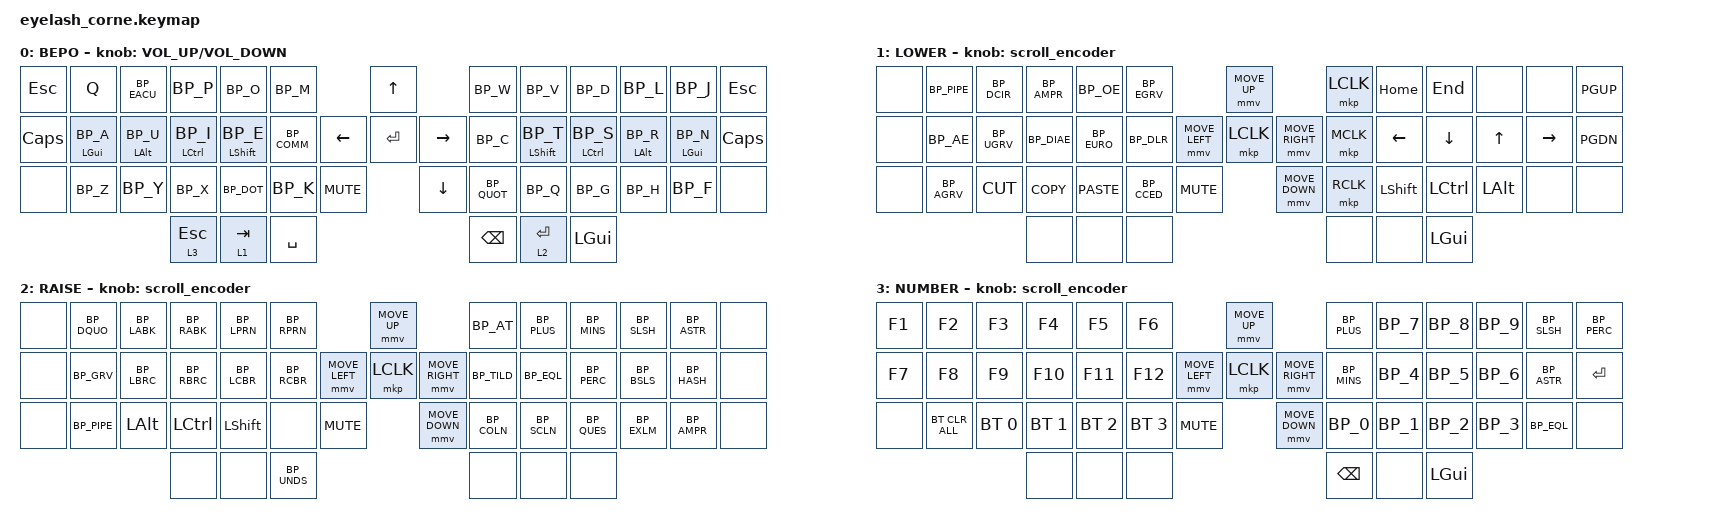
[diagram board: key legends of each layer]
#define ZMK_POINTING_DEFAULT_MOVE_VAL 1200
#define ZMK_POINTING_DEFAULT_SCRL_VAL 25

#define BEPO 0
#define LOWER 1
#define RAISE 2
#define NUMBER 3

#define BP_B Q 

#include <input/processors.dtsi>
#include <zephyr/dt-bindings/input/input-event-codes.h>
#include <behaviors.dtsi>
#include <dt-bindings/zmk/bt.h>
#include <dt-bindings/zmk/keys.h>
#include <dt-bindings/zmk/outputs.h>
#include <dt-bindings/zmk/pointing.h>
#include <dt-bindings/zmk/rgb.h>
#include "keymap_bepo.h"

&mmv_input_listener { input-processors = <&zip_xy_scaler 2 1>; };
&msc_input_listener { input-processors = <&zip_scroll_scaler 2 1>; };

&msc {
    acceleration-exponent = <1>;
    time-to-max-speed-ms = <100>;
    delay-ms = <0>;
};

&mmv {
    time-to-max-speed-ms = <500>;
    acceleration-exponent = <1>;
    trigger-period-ms = <16>;
};

 / {
    behaviors {
        td0: td0 {
            compatible = "zmk,behavior-tap-dance";
            display-name = "Shift/Caps Lock Tap Dance";
            #binding-cells = <0>;
            bindings = <&kp LEFT_SHIFT>, <&kp CAPS>;
        };
    };

    rgb_encoder: rgb_encoder {
        compatible = "zmk,behavior-sensor-rotate";
        #sensor-binding-cells = <0>;
        bindings = <&rgb_ug RGB_BRI>, <&rgb_ug RGB_BRD>;
    };

    scroll_encoder: scroll_encoder {
        compatible = "zmk,behavior-sensor-rotate";
        #sensor-binding-cells = <0>;
        bindings = <&msc SCRL_DOWN>, <&msc SCRL_UP>;
        tap-ms = <100>;
    };

    keymap {
        compatible = "zmk,keymap";
        bepo_layer {
            display-name = "BEPO";
            bindings = <
                // Ligne du haut gauche                                                                                                                     // Ligne du haut droite
                &kp ESC         &kp BP_B        &kp BP_EACU     &kp BP_P         &kp BP_O          &kp BP_M                           &kp UP                &kp BP_W      &kp BP_V          &kp BP_D         &kp BP_L        &kp BP_J       &kp ESC
                // Ligne du milieu gauche                                                                                                                   // Ligne du milieu droite
                &kp CAPSLOCK    &mt LGUI BP_A   &mt LALT BP_U   &mt LCTRL BP_I   &mt LSHIFT BP_E   &kp BP_COMM              &kp LEFT  &kp ENTER  &kp RIGHT  &kp BP_C      &mt LSHIFT BP_T   &mt LCTRL BP_S   &mt LALT BP_R   &mt LGUI BP_N  &kp CAPSLOCK
                // Ligne du bas gauche                                                                                                                      // Ligne du bas droite
                &none           &kp BP_Z        &kp BP_Y        &kp BP_X         &kp BP_DOT        &kp BP_K    &kp C_MUTE             &kp DOWN              &kp BP_QUOT   &kp BP_Q          &kp BP_G         &kp BP_H        &kp BP_F       &none
                // Thumbs (gauche puis droite, 3 par main)
                                                                &lt 3 ESC        &lt 1 TAB         &kp SPACE                                                &kp BSPC      &lt 2 ENTER       &kp LGUI
            >;
            sensor-bindings = <&inc_dec_kp C_VOLUME_UP C_VOLUME_DOWN>;
        };
        lower_layer {
            display-name = "LOWER";
            bindings = <
                &none      &kp BP_PIPE    &kp BP_DCIR    &kp BP_AMPR   &kp BP_OE    &kp BP_EGRV                                 &mmv MOVE_UP                      &mkp LCLK   &kp HOME     &kp END     &none          &none           &kp PGUP
                &none      &kp BP_AE      &kp BP_UGRV    &kp BP_DIAE   &kp BP_EURO  &kp BP_DLR                   &mmv MOVE_LEFT &mkp LCLK       &mmv MOVE_RIGHT   &mkp MCLK   &kp LEFT     &kp DOWN    &kp UP         &kp RIGHT       &kp PGDN
                &none      &kp BP_AGRV    &kp K_CUT      &kp K_COPY    &kp K_PASTE  &kp BP_CCED   &kp C_MUTE                    &mmv MOVE_DOWN                    &mkp RCLK   &kp LSHIFT   &kp LCTRL   &kp LALT       &none           &none
                                                         &none         &none        &none                                                                         &none       &none        &kp LGUI
            >;
            sensor-bindings = <&scroll_encoder>;
        };
        raise_layer {
            display-name = "RAISE";
            bindings = <
                &none      &kp BP_DQUO    &kp BP_LABK    &kp BP_RABK   &kp BP_LPRN  &kp BP_RPRN                                  &mmv MOVE_UP                       &kp BP_AT   &kp BP_PLUS  &kp BP_MINS  &kp BP_SLSH &kp BP_ASTR &none
                &none      &kp BP_GRV     &kp BP_LBRC    &kp BP_RBRC   &kp BP_LCBR  &kp BP_RCBR                   &mmv MOVE_LEFT &mkp LCLK      &mmv MOVE_RIGHT     &kp BP_TILD &kp BP_EQL   &kp BP_PERC  &kp BP_BSLS &kp BP_HASH &none
                &none      &kp BP_PIPE    &kp LALT       &kp LCTRL     &kp LSHIFT   &none        &kp C_MUTE                      &mmv MOVE_DOWN                     &kp BP_COLN &kp BP_SCLN  &kp BP_QUES  &kp BP_EXLM &kp BP_AMPR &none
                                                         &none         &none        &kp BP_UNDS                                                                     &none       &none        &none
            >;
            sensor-bindings = <&scroll_encoder>;
        };
        number_layer {
            display-name = "NUMBER";
            bindings = <
                &kp F1     &kp F2            &kp F3         &kp F4       &kp F5        &kp F6                                             &mmv MOVE_UP                      &kp BP_PLUS &kp BP_7  &kp BP_8   &kp BP_9  &kp BP_SLSH &kp BP_PERC
                &kp F7     &kp F8            &kp F9         &kp F10      &kp F11       &kp F12                             &mmv MOVE_LEFT &mkp LCLK         &mmv MOVE_RIGHT &kp BP_MINS &kp BP_4  &kp BP_5   &kp BP_6  &kp BP_ASTR &kp ENTER
                &none      &bt BT_CLR_ALL    &bt BT_SEL 0   &bt BT_SEL 1 &bt BT_SEL 2  &bt BT_SEL 3  &kp C_MUTE                           &mmv MOVE_DOWN                    &kp BP_0    &kp BP_1  &kp BP_2   &kp BP_3  &kp BP_EQL  &none
                                                            &none        &none         &none                                                                                &kp BSPC    &none   &kp LGUI
            >;
            sensor-bindings = <&scroll_encoder>;
        };
    };
};
